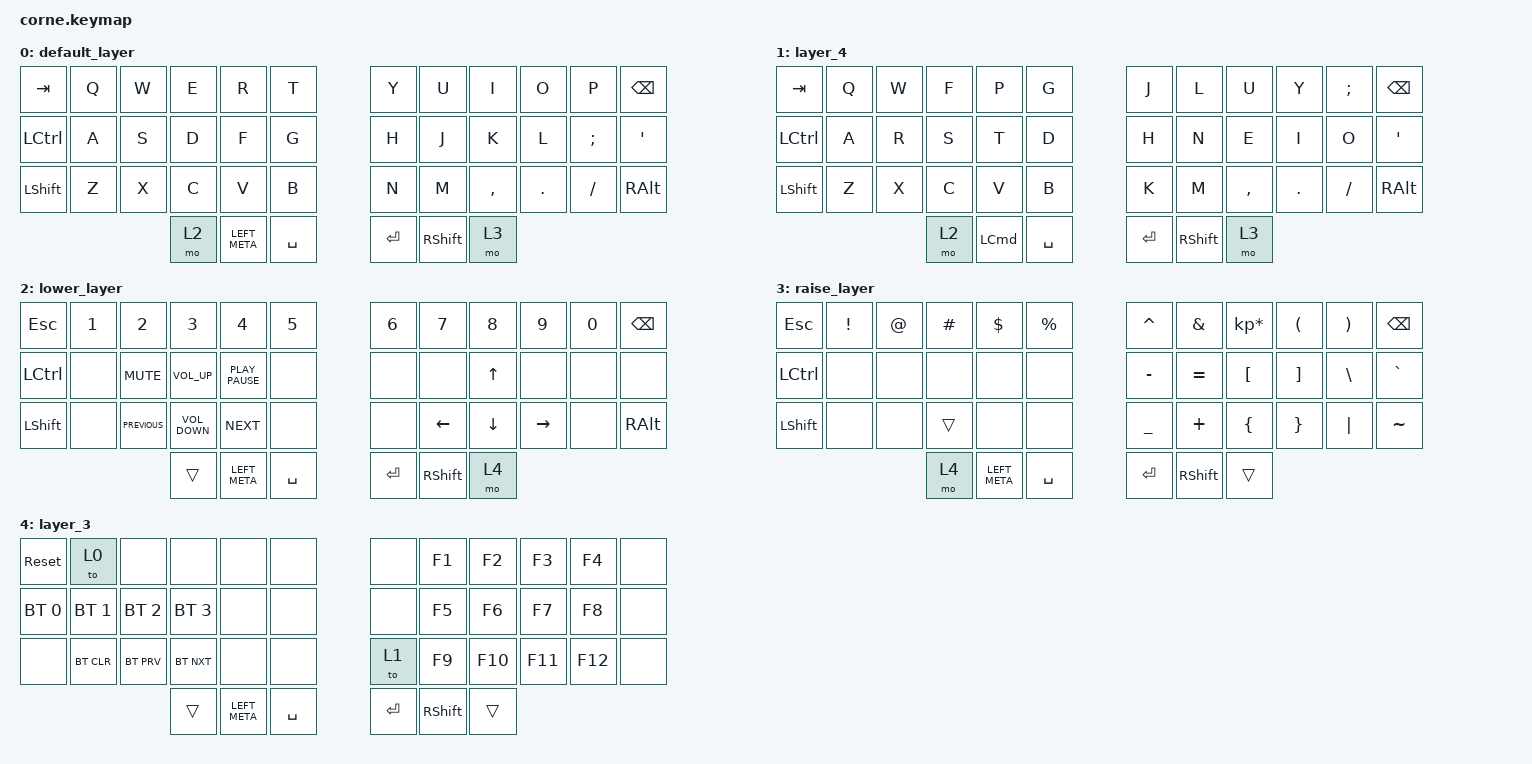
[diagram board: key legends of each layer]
/*
 * Copyright (c) 2020 The ZMK Contributors
 *
 * SPDX-License-Identifier: MIT
 */

#include <behaviors.dtsi>
#include <dt-bindings/zmk/bt.h>
#include <dt-bindings/zmk/keys.h>

/ {
    keymap {
        compatible = "zmk,keymap";

        default_layer {
            // -----------------------------------------------------------------------------------------
            // |  TAB |  Q  |  W  |  E  |  R  |  T  |   |  Y  |  U   |  I  |  O  |  P  | BKSP |
            // | CTRL |  A  |  S  |  D  |  F  |  G  |   |  H  |  J   |  K  |  L  |  ;  |  '   |
            // | SHFT |  Z  |  X  |  C  |  V  |  B  |   |  N  |  M   |  ,  |  .  |  /  | ESC  |
            //                    | GUI | LWR | SPC |   | ENT | RSE  | ALT |

            bindings = <
  &kp TAB  &kp Q  &kp W  &kp E          &kp R      &kp T      &kp Y            &kp U      &kp I    &kp O     &kp P       &kp BSPC
&kp LCTRL  &kp A  &kp S  &kp D          &kp F      &kp G      &kp H            &kp J      &kp K    &kp L  &kp SEMI        &kp SQT
&kp LSHFT  &kp Z  &kp X  &kp C          &kp V      &kp B      &kp N            &kp M  &kp COMMA  &kp DOT  &kp FSLH  &kp RIGHT_ALT
                         &mo 2  &kp LEFT_META  &kp SPACE    &kp RET  &kp RIGHT_SHIFT      &mo 3
            >;
        };

        layer_4 {
            bindings = <
         &kp TAB  &kp Q  &kp W  &kp F             &kp P      &kp G        &kp J            &kp L      &kp U       &kp Y  &kp SEMICOLON  &kp BACKSPACE
&kp LEFT_CONTROL  &kp A  &kp R  &kp S             &kp T      &kp D        &kp H            &kp N      &kp E       &kp I          &kp O       &kp APOS
  &kp LEFT_SHIFT  &kp Z  &kp X  &kp C             &kp V      &kp B        &kp K            &kp M  &kp COMMA  &kp PERIOD      &kp SLASH  &kp RIGHT_ALT
                                &mo 2  &kp LEFT_COMMAND  &kp SPACE    &kp ENTER  &kp RIGHT_SHIFT      &mo 3
            >;
        };

        lower_layer {
            // -----------------------------------------------------------------------------------------
            // |  TAB |  1  |  2  |  3  |  4  |  5  |   |  6  |  7  |  8  |  9  |  0  | BKSP |
            // | BTCLR| BT1 | BT2 | BT3 | BT4 | BT5 |   | LFT | DWN |  UP | RGT |     |      |
            // | SHFT |     |     |     |     |     |   |     |     |     |     |     |      |
            //                    | GUI |     | SPC |   | ENT |     | ALT |

            bindings = <
      &kp ESCAPE  &kp N1          &kp N2             &kp N3            &kp N4     &kp N5     &kp N6           &kp N7          &kp N8           &kp N9  &kp N0       &kp BSPC
&kp LEFT_CONTROL   &none      &kp K_MUTE    &kp C_VOLUME_UP  &kp K_PLAY_PAUSE      &none      &none            &none    &kp UP_ARROW            &none   &none          &none
       &kp LSHFT   &none  &kp C_PREVIOUS  &kp C_VOLUME_DOWN        &kp C_NEXT      &none      &none   &kp LEFT_ARROW  &kp DOWN_ARROW  &kp RIGHT_ARROW   &none  &kp RIGHT_ALT
                                                     &trans     &kp LEFT_META  &kp SPACE    &kp RET  &kp RIGHT_SHIFT           &mo 4
            >;
        };

        raise_layer {
            // -----------------------------------------------------------------------------------------
            // |  TAB |  !  |  @  |  #  |  $  |  %  |   |  ^  |  &  |  *  |  (  |  )  | BKSP |
            // | CTRL |     |     |     |     |     |   |  -  |  =  |  [  |  ]  |  \  |  `   |
            // | SHFT |     |     |     |     |     |   |  _  |  +  |  {  |  }  | "|" |  ~   |
            //                    | GUI |     | SPC |   | ENT |     | ALT |

            bindings = <
&kp ESCAPE  &kp EXCL  &kp AT  &kp HASH       &kp DLLR  &kp PRCNT    &kp CARET         &kp AMPS  &kp KP_ASTERISK  &kp LPAR  &kp RPAR   &kp BSPC
 &kp LCTRL     &none   &none     &none          &none      &none    &kp MINUS        &kp EQUAL         &kp LBKT  &kp RBKT  &kp BSLH  &kp GRAVE
 &kp LSHFT     &none   &none    &trans          &none      &none    &kp UNDER         &kp PLUS         &kp LBRC  &kp RBRC  &kp PIPE  &kp TILDE
                                 &mo 4  &kp LEFT_META  &kp SPACE      &kp RET  &kp RIGHT_SHIFT           &trans
            >;
        };

        layer_3 {
            bindings = <
  &sys_reset         &to 0         &none         &none          &none      &none        &none           &kp F1   &kp F2   &kp F3   &kp F4  &none
&bt BT_SEL 0  &bt BT_SEL 1  &bt BT_SEL 2  &bt BT_SEL 3          &none      &none        &none           &kp F5   &kp F6   &kp F7   &kp F8  &none
       &none    &bt BT_CLR    &bt BT_PRV    &bt BT_NXT          &none      &none        &to 1           &kp F9  &kp F10  &kp F11  &kp F12  &none
                                                &trans  &kp LEFT_META  &kp SPACE    &kp ENTER  &kp RIGHT_SHIFT   &trans
            >;
        };
    };
};
